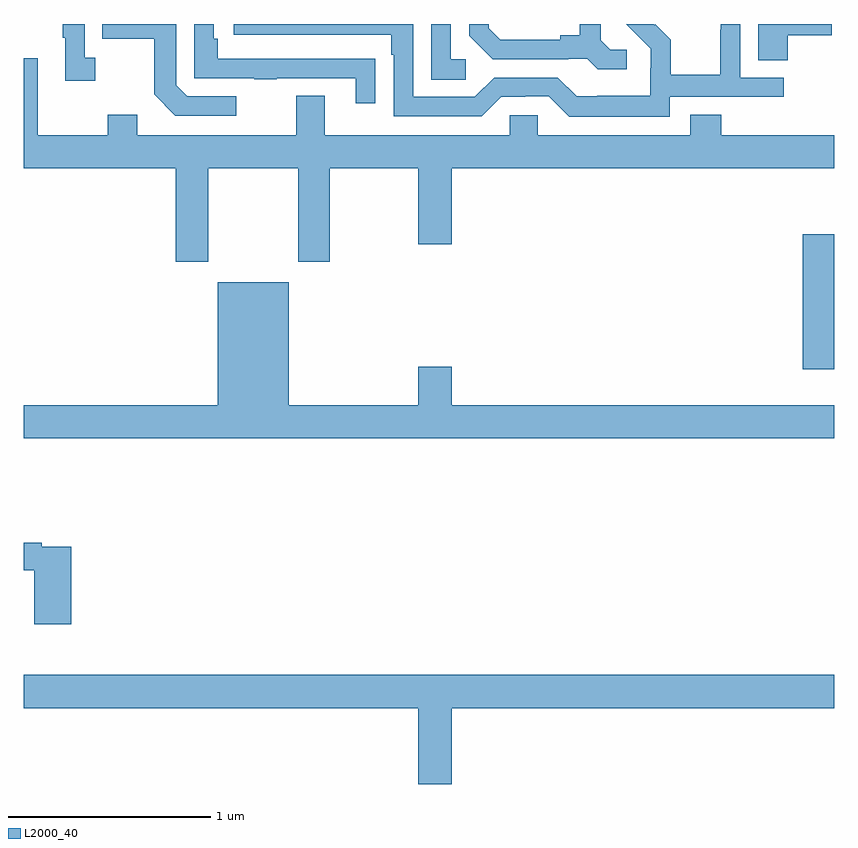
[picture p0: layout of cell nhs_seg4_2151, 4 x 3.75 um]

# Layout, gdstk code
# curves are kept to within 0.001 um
import gdstk
lib = gdstk.Library(unit=1e-6, precision=1e-09)
def R(c, l, rs):  # rectangles x0, y0, x1, y1
    for r in rs: c.add(gdstk.rectangle(r[:2], r[2:], *l))
def P(c, l, *ps):  # polygons
    for p in ps: c.add(gdstk.Polygon(p, *l))
L2000_40 = (2000, 40)

nhs_seg4_2151 = lib.new_cell('nhs_seg4_2151')
R(nhs_seg4_2151, L2000_40, [(226.844,761.196,227,761.863)])
P(nhs_seg4_2151, L2000_40, [(226.769,762.845),(226.987,762.845),(226.987,762.9),(226.625,762.9),(226.625,762.721),(226.769,762.721)],
  [(225.976,762.774),(225.894,762.774),(225.847,762.821),(225.847,762.9),(225.743,762.9),(225.743,762.845),(225.647,762.845),(225.647,762.822),(225.352,762.822),(225.295,762.879),(225.295,762.9),(225.198,762.9),(225.198,762.842),(225.314,762.726),(225.686,762.726),(225.686,762.729),(225.78,762.729),(225.832,762.677),(225.976,762.677)],
  [(224.05,762.543),(223.806,762.543),(223.752,762.597),(223.752,762.9),(223.387,762.9),(223.387,762.826),(223.644,762.826),(223.644,762.553),(223.749,762.447),(224.05,762.447)],
  [(223.354,762.734),(223.302,762.734),(223.302,762.9),(223.194,762.9),(223.194,762.833),(223.205,762.833),(223.205,762.621),(223.354,762.621)],
  [(224.735,762.728),(224.633,762.728),(224.633,762.729),(223.958,762.729),(223.958,762.826),(223.938,762.826),(223.938,762.9),(223.842,762.9),(223.842,762.633),(224.137,762.633),(224.137,762.628),(224.249,762.628),(224.249,762.633),(224.639,762.633),(224.639,762.51),(224.735,762.51)],
  [(225.181,762.726),(225.108,762.726),(225.108,762.9),(225.012,762.9),(225.012,762.625),(225.181,762.625)],
  [(226.188,762.54),(226.75,762.54),(226.75,762.636),(226.536,762.636),(226.536,762.9),(226.44,762.9),(226.44,762.872),(226.438,762.872),(226.438,762.649),(226.193,762.649),(226.193,762.823),(226.116,762.9),(226.113,762.897),(226.11,762.9),(225.974,762.9),(226.094,762.778),(226.094,762.681),(226.092,762.681),(226.092,762.547),(225.829,762.547),(225.829,762.543),(225.729,762.543),(225.636,762.636),(225.321,762.636),(225.225,762.54),(224.922,762.54),(224.922,762.9),(224.037,762.9),(224.037,762.846),(224.813,762.846),(224.813,762.749),(224.826,762.749),(224.826,762.444),(225.261,762.444),(225.357,762.54),(225.476,762.54),(225.476,762.543),(225.591,762.543),(225.691,762.443),(226.188,762.443)],
  [(224.345,762.352),(223.561,762.352),(223.561,762.451),(223.414,762.451),(223.414,762.352),(223.069,762.352),(223.069,762.73),(223,762.73),(223,762.188),(223.751,762.188),(223.751,761.727),(223.911,761.727),(223.911,762.188),(224.356,762.188),(224.356,761.727),(224.511,761.727),(224.511,762.188),(224.948,762.188),(224.948,761.814),(225.112,761.814),(225.112,762.188),(227,762.188),(227,762.352),(226.442,762.352),(226.442,762.451),(226.289,762.451),(226.289,762.352),(225.537,762.352),(225.537,762.45),(225.399,762.45),(225.399,762.352),(224.485,762.352),(224.485,762.547),(224.345,762.547)],
  [(227,761.02),(225.112,761.02),(225.112,761.209),(224.948,761.209),(224.948,761.02),(224.308,761.02),(224.308,761.626),(223.958,761.626),(223.958,761.02),(223,761.02),(223,760.856),(227,760.856)],
  [(223.235,760.32),(223.088,760.32),(223.088,760.34),(223,760.34),(223,760.204),(223.052,760.204),(223.052,759.939),(223.235,759.939)],
  [(225.112,759.524),(227,759.524),(227,759.688),(223,759.688),(223,759.524),(224.948,759.524),(224.948,759.15),(225.112,759.15)])

lib.write_gds('nhs_seg4_2151.gds')
